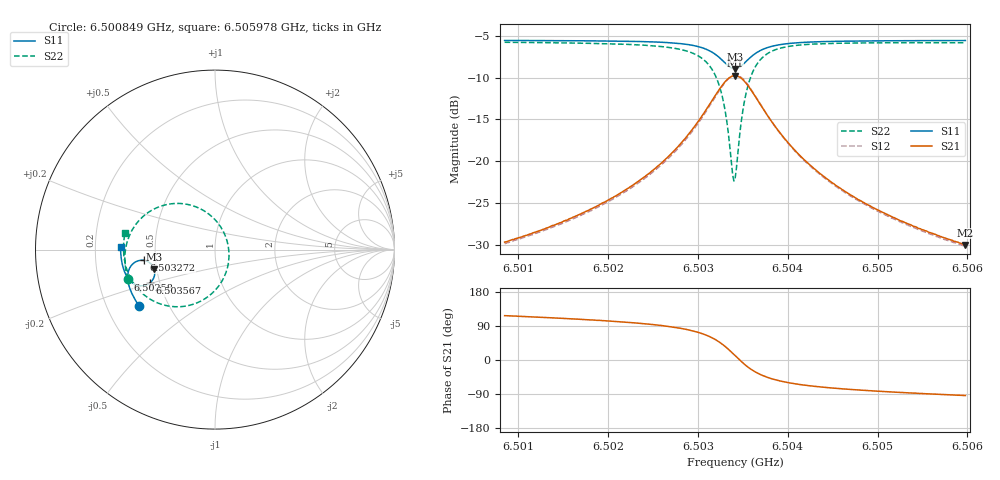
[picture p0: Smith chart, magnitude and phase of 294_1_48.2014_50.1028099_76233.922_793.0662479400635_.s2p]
#  HZ  S  RI  R  50.00
! Rohde & Schwarz Vector Network Analyzer
! Rohde-Schwarz,ZNB20-2Port,1311601062101988,3.16
! Created: UTC 3/20/2024, 11:49:11 AM
! freq[Hz]  re:S11  im:S11  re:S21  im:S21  re:S12  im:S12  re:S22  im:S22
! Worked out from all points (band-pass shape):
!   401 points, 6.500849 GHz to 6.505978 GHz, reference 50 ohm
!   highest |S21| = -9.78 dB at 6.503413 GHz (marker M1); lowest = -30.0 dB at 6.505978 GHz (marker M2)
!   |S21| within 3 dB of the highest: 6.503156 GHz to 6.503669 GHz (513.4 kHz wide, 0.0079 % of centre)
!   lowest |S11| = -9.0 dB at 6.503413 GHz (marker M3), VSWR 2.11, Z = 24.2 - j6.06 ohm
!   |S11| at or under -10 dB: nowhere
!   |S22| runs from -22.3 to -5.8 dB; largest |S21 - S12| = 0.011
!   S11 on the Smith chart (normalised r, x): 6.500849 GHz: 0.34, -0.30; 6.50258 GHz: 0.33, -0.15; 6.503272 GHz: 0.43, -0.06; 6.503567 GHz: 0.44, -0.20; 6.505978 GHz: 0.31, +0.01
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6.5008486e9  -0.4215 -0.3155  -0.015 0.0293  -0.0133 0.0293  -0.4869 -0.1633
6.5017078e9  -0.4592 -0.2528  -0.0144 0.0468  -0.0121 0.0464  -0.5016 -0.0733
6.5022079e9  -0.4771 -0.2089  -0.0113 0.0673  -0.0083 0.0662  -0.4992 -0.00318
6.502567e9  -0.4857 -0.1696  -0.00296 0.0949  0.000711 0.0926  -0.481 0.0677
6.5025798e9  -0.4859 -0.1679  -0.00225 0.0962  0.00127 0.094  -0.4799 0.0707
6.5028234e9  -0.4851 -0.1328  0.0159 0.1292  0.0197 0.1254  -0.4414 0.1402
6.503003e9  -0.4738 -0.0995  0.0506 0.1652  0.0538 0.1598  -0.3731 0.2062
6.5031697e9  -0.4391 -0.0667  0.128 0.1981  0.1292 0.1919  -0.2309 0.2564
6.5032723e9  -0.3966 -0.0601  0.2128 0.1892  0.2131 0.1838  -0.0833 0.228
6.5033236e9  -0.3713 -0.0687  0.2608 0.1611  0.2617 0.1564  -0.00349 0.1706
6.5033877e9  -0.345 -0.095  0.3079 0.0978  0.3104 0.0927  0.067 0.0488
6.5034134e9  -0.3388 -0.1093  0.3177 0.066  0.3209 0.0602  0.0775 -0.0104
6.5034262e9  -0.3368 -0.117  0.3204 0.0494  0.3236 0.043  0.0779 -0.0407
6.5035031e9  -0.343 -0.1612  0.3033 -0.0441  0.3052 -0.0538  0.02 -0.2038
6.5035672e9  -0.364 -0.1867  0.2611 -0.0973  0.2598 -0.1082  -0.0753 -0.2851
6.5036698e9  -0.403 -0.2015  0.1872 -0.1327  0.182 -0.1419  -0.2228 -0.3182
6.5038365e9  -0.4485 -0.1917  0.1071 -0.1298  0.1 -0.1347  -0.3679 -0.2721
6.5040161e9  -0.4756 -0.1704  0.063 -0.1101  0.0571 -0.1123  -0.4387 -0.2079
6.5042726e9  -0.4962 -0.1404  0.0336 -0.0862  0.0289 -0.0868  -0.4817 -0.1366
6.5046701e9  -0.5121 -0.0994  0.0143 -0.0628  0.0112 -0.0626  -0.5044 -0.06
6.5051318e9  -0.5211 -0.0572  0.00484 -0.0472  0.00271 -0.0466  -0.5099 0.00364
6.5059781e9  -0.5258 0.0141  -0.00204 -0.0316  -0.0034 -0.031  -0.5017 0.0921
